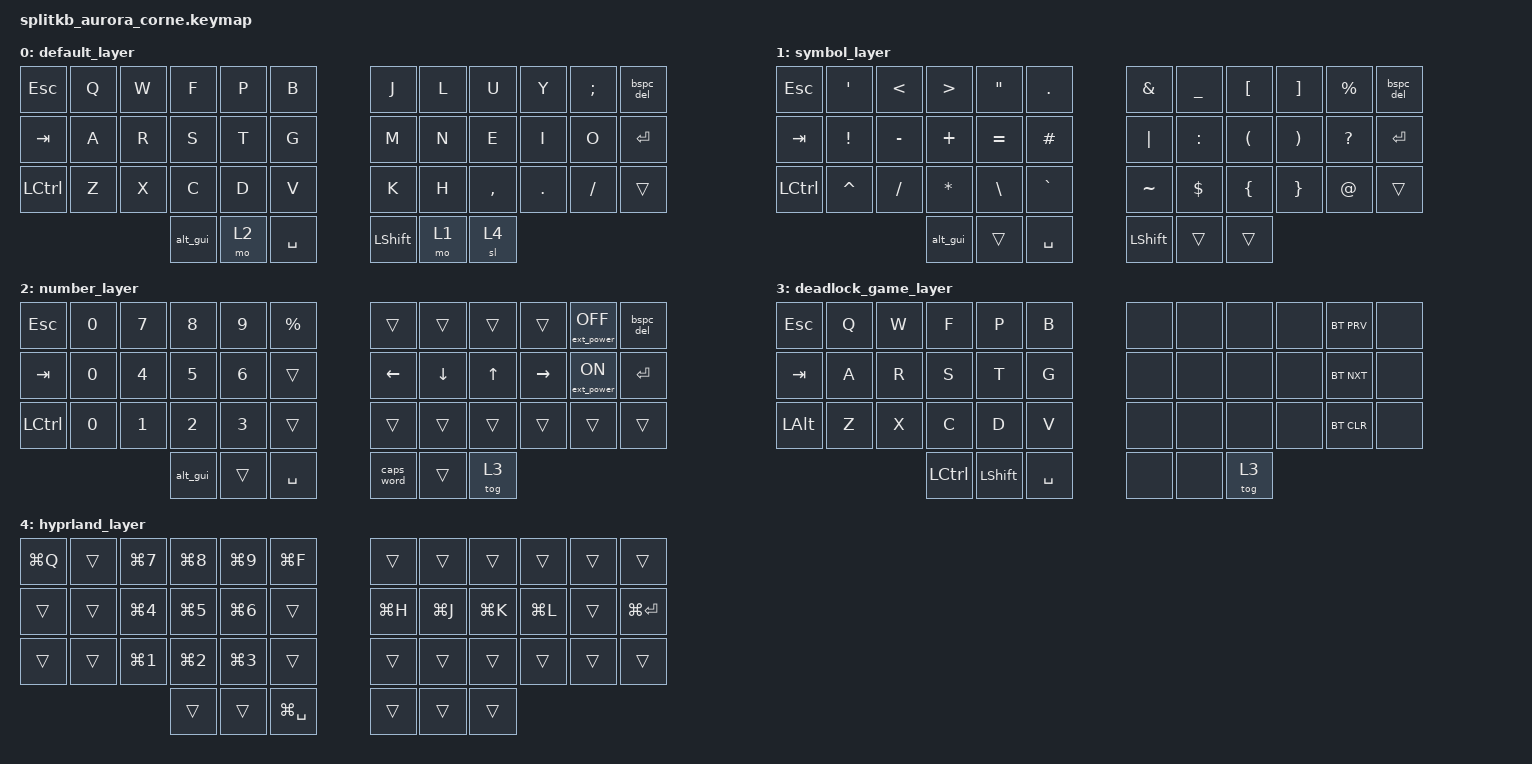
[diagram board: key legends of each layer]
/*
 * Copyright (c) 2020 The ZMK Contributors
 *
 * SPDX-License-Identifier: MIT
 */

#include <behaviors.dtsi>
#include <dt-bindings/zmk/keys.h>
#include <dt-bindings/zmk/bt.h>
#include <dt-bindings/zmk/ext_power.h>

&spi3 {
    status = "disabled";
};

&sl {
    ignore-modifiers;
};

/ { 
    behaviors {
        bspc_del: backspace_delete {
            compatible = "zmk,behavior-mod-morph";
            #binding-cells = <0>;
            bindings = <&kp BACKSPACE>, <&kp DELETE>;
            mods = <(MOD_RSFT|MOD_LSFT)>;
            keep-mods = <(MOD_RSFT)>;
        };
        alt_gui: alt_gui {
            compatible = "zmk,behavior-tap-dance";
            #binding-cells = <0>;
            tapping-term-ms = <200>;
            bindings = <&kp LALT>, <&kp LGUI>;
        };
    };
}; 

/ {
        keymap {
                compatible = "zmk,keymap";

                default_layer {
// -----------------------------------------------------------------------------------------
// |  ESC |  Q  |  W  |  F  |  P  |  B  |   |  J  |  L   |  U  |  Y  |  ;  | BKSP/DEL |
// |  TAB |  A  |  R  |  S  |  T  |  G  |   |  M  |  N   |  E  |  I  |  O  |   ENT    |
// | CTRL |  Z  |  X  |  C  |  D  |  V  |   |  K  |  H   |  ,  |  .  |  /  |          |
//                 | ALT/GUI | L2 | SPC |   | SHFT | L1 | SL4(WS) |
                        bindings = <
   &kp ESC   &kp Q &kp W &kp F &kp P &kp B     &kp J &kp L &kp U     &kp Y   &kp SEMI  &bspc_del
   &kp TAB   &kp A &kp R &kp S &kp T &kp G     &kp M &kp N &kp E     &kp I   &kp O     &kp RET
   &kp LCTRL &kp Z &kp X &kp C &kp D &kp V     &kp K &kp H &kp COMMA &kp DOT &kp FSLH  &trans
                    &alt_gui &mo 2 &kp SPC     &kp LSHFT &mo 1 &sl 4
                        >;
                };

                symbol_layer {
// -----------------------------------------------------------------------------------------
// |  ESC |  '  |  <  |  >  |  "  |  .  |   |  &  |  _  |  [  |  ]  |  %  | BKSP/DEL |
// |  TAB |  !  |  -  |  +  |  =  |  #  |   |  |  |  :  |  (  |  )  |  ?  |   ENT    |
// | CTRL |  ^  |  /  |  *  |  \  |  `  |   |  ~  |  $  |  {  |  }  |  @  |          |
//                | ALT/GUI |     | SPC |   | SHFT |     |     |
                        bindings = <
   &kp ESC   &kp SQT   &kp LT    &kp GT    &kp DQT   &kp DOT       &kp AMPS  &kp UNDER &kp LBKT &kp RBKT &kp PRCNT &bspc_del
   &kp TAB   &kp EXCL  &kp MINUS &kp PLUS  &kp EQUAL &kp HASH      &kp PIPE  &kp COLON &kp LPAR &kp RPAR &kp QMARK &kp RET
   &kp LCTRL &kp CARET &kp FSLH  &kp ASTRK &kp BSLH  &kp GRAVE     &kp TILDE &kp DLLR  &kp LBRC &kp RBRC &kp AT    &trans
                                        &alt_gui &trans &kp SPC    &kp LSHFT &trans &trans
                        >;
                };

                number_layer {
// -----------------------------------------------------------------------------------------
// |  ESC |  0  |  7  |  8  |  9  | PRNT|   |     |     |     |     | OFF | BKSP/DEL |
// |  TAB |  0  |  4  |  5  |  6  |     |   |  ⬅  |  ⬇  |  ⬆  |  ⮕  |  ON |   ENT    |
// | CTRL |  0  |  1  |  2  |  3  |     |   |     |     |     |     |     |          |
//                | ALT/GUI |     | SPC |   | SHFT |     | L4 |
                        bindings = <
   &kp ESC   &kp N0 &kp N7 &kp N8 &kp N9 &kp PRCNT     &trans     &trans   &trans   &trans    &ext_power EP_OFF &bspc_del
   &kp TAB   &kp N0 &kp N4 &kp N5 &kp N6 &trans        &kp LEFT   &kp DOWN &kp UP   &kp RIGHT &ext_power EP_ON  &kp RET           
   &kp LCTRL &kp N0 &kp N1 &kp N2 &kp N3 &trans        &trans     &trans   &trans   &trans    &trans            &trans
                           &alt_gui &trans &kp SPC     &caps_word &trans &tog 3
                        >;
                };

                deadlock_game_layer {
// -----------------------------------------------------------------------------------------
// | ESC |  Q  |  W  |  F  |  P  |  B  |   |     |     |     |     | BTPRV |          |
// | TAB |  A  |  R  |  S  |  T  |  G  |   |     |     |     |     | BTNXT |          |
// | ALT |  Z  |  X  |  C  |  D  |  V  |   |     |     |     |     | BTCLR |          |
//                 | CTRL | SHFT | SPC |   |     |     | L1 |
                        bindings = <
   &kp ESC   &kp Q &kp W &kp F &kp P &kp B     &none &none &none &none &bt BT_PRV &none
   &kp TAB   &kp A &kp R &kp S &kp T &kp G     &none &none &none &none &bt BT_NXT &none
   &kp LALT  &kp Z &kp X &kp C &kp D &kp V     &none &none &none &none &bt BT_CLR &none
               &kp LCTRL &kp LSHFT &kp SPC     &none &none &tog 3
                        >;
                };

                hyprland_layer {
// -----------------------------------------------------------------------------------------
// | LGQ |     | LG7 | LG8 | LG9 | LGF |   |     |      |     |     |     |       |
// |     |     | LG4 | LG5 | LG6 |     |   |     | LGH  | LGJ | LGK | LGL | LGENT |
// |     |     | LG1 | LG2 | LG3 |     |   |     |      |     |     |     |       |
//                 |     |     | LGSPC |   |     |     |     |
                        bindings = <
   &kp LG(Q) &trans &kp LG(N7) &kp LG(N8) &kp LG(N9) &kp LG(F)   &trans    &trans    &trans    &trans    &trans &trans
   &trans    &trans &kp LG(N4) &kp LG(N5) &kp LG(N6) &trans      &kp LG(H) &kp LG(J) &kp LG(K) &kp LG(L) &trans &kp LG(RET)
   &trans    &trans &kp LG(N1) &kp LG(N2) &kp LG(N3) &trans      &trans    &trans    &trans    &trans    &trans &trans
                                    &trans &trans &kp LG(SPC)    &trans &trans &trans
                        >;
                };
        };
};
